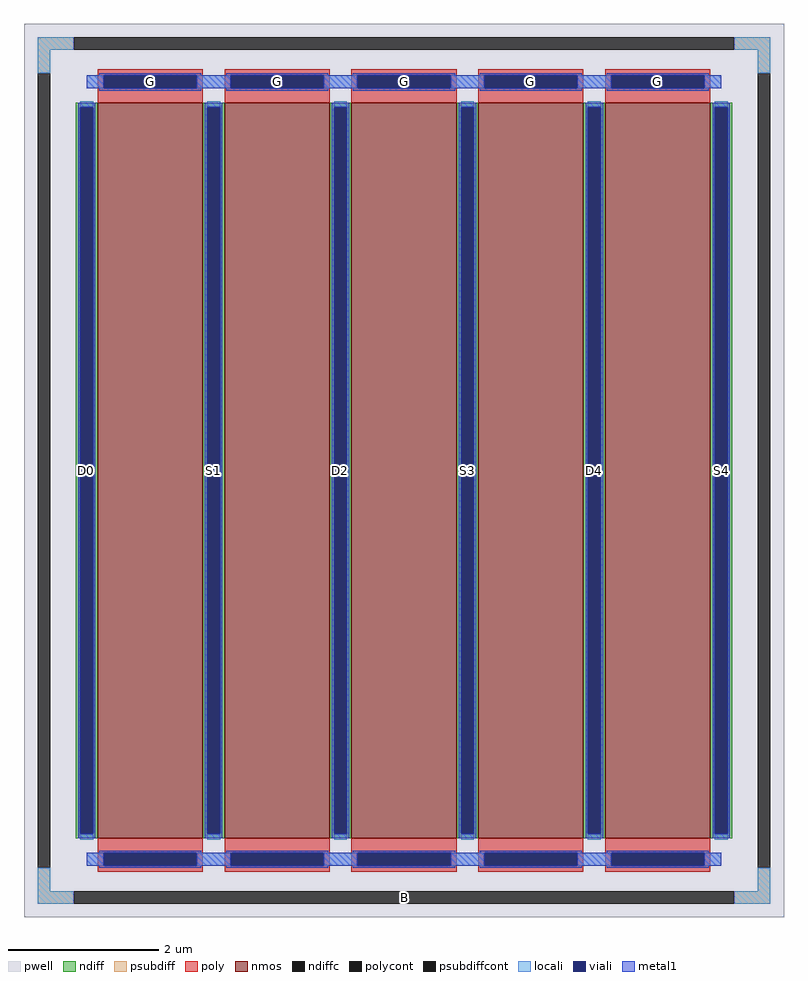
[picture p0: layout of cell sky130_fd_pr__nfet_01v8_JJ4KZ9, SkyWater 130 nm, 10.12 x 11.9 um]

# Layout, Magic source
magic
tech sky130A
magscale 1 2
<< pwell >>
rect -1012 -1190 1012 1190
<< nmos >>
rect -816 -980 -536 980
rect -478 -980 -198 980
rect -140 -980 140 980
rect 198 -980 478 980
rect 536 -980 816 980
<< ndiff >>
rect -874 968 -816 980
rect -874 -968 -862 968
rect -828 -968 -816 968
rect -874 -980 -816 -968
rect -536 968 -478 980
rect -536 -968 -524 968
rect -490 -968 -478 968
rect -536 -980 -478 -968
rect -198 968 -140 980
rect -198 -968 -186 968
rect -152 -968 -140 968
rect -198 -980 -140 -968
rect 140 968 198 980
rect 140 -968 152 968
rect 186 -968 198 968
rect 140 -980 198 -968
rect 478 968 536 980
rect 478 -968 490 968
rect 524 -968 536 968
rect 478 -980 536 -968
rect 816 968 874 980
rect 816 -968 828 968
rect 862 -968 874 968
rect 816 -980 874 -968
<< ndiffc >>
rect -862 -968 -828 968
rect -524 -968 -490 968
rect -186 -968 -152 968
rect 152 -968 186 968
rect 490 -968 524 968
rect 828 -968 862 968
<< psubdiff >>
rect -976 1120 -880 1154
rect 880 1120 976 1154
rect -976 1058 -942 1120
rect 942 1058 976 1120
rect -976 -1120 -942 -1058
rect 942 -1120 976 -1058
rect -976 -1154 -880 -1120
rect 880 -1154 976 -1120
<< psubdiffcont >>
rect -880 1120 880 1154
rect -976 -1058 -942 1058
rect 942 -1058 976 1058
rect -880 -1154 880 -1120
<< poly >>
rect -816 1052 -536 1068
rect -816 1018 -800 1052
rect -552 1018 -536 1052
rect -816 980 -536 1018
rect -478 1052 -198 1068
rect -478 1018 -462 1052
rect -214 1018 -198 1052
rect -478 980 -198 1018
rect -140 1052 140 1068
rect -140 1018 -124 1052
rect 124 1018 140 1052
rect -140 980 140 1018
rect 198 1052 478 1068
rect 198 1018 214 1052
rect 462 1018 478 1052
rect 198 980 478 1018
rect 536 1052 816 1068
rect 536 1018 552 1052
rect 800 1018 816 1052
rect 536 980 816 1018
rect -816 -1018 -536 -980
rect -816 -1052 -800 -1018
rect -552 -1052 -536 -1018
rect -816 -1068 -536 -1052
rect -478 -1018 -198 -980
rect -478 -1052 -462 -1018
rect -214 -1052 -198 -1018
rect -478 -1068 -198 -1052
rect -140 -1018 140 -980
rect -140 -1052 -124 -1018
rect 124 -1052 140 -1018
rect -140 -1068 140 -1052
rect 198 -1018 478 -980
rect 198 -1052 214 -1018
rect 462 -1052 478 -1018
rect 198 -1068 478 -1052
rect 536 -1018 816 -980
rect 536 -1052 552 -1018
rect 800 -1052 816 -1018
rect 536 -1068 816 -1052
<< polycont >>
rect -800 1018 -552 1052
rect -462 1018 -214 1052
rect -124 1018 124 1052
rect 214 1018 462 1052
rect 552 1018 800 1052
rect -800 -1052 -552 -1018
rect -462 -1052 -214 -1018
rect -124 -1052 124 -1018
rect 214 -1052 462 -1018
rect 552 -1052 800 -1018
<< locali >>
rect -976 1120 -880 1154
rect 880 1120 976 1154
rect -976 1058 -942 1120
rect 942 1058 976 1120
rect -845 1018 -800 1052
rect -552 1018 -462 1052
rect -214 1018 -124 1052
rect 124 1018 214 1052
rect 462 1018 552 1052
rect 800 1018 845 1052
rect -862 968 -828 984
rect -862 -984 -828 -968
rect -524 968 -490 984
rect -524 -984 -490 -968
rect -186 968 -152 984
rect -186 -984 -152 -968
rect 152 968 186 984
rect 152 -984 186 -968
rect 490 968 524 984
rect 490 -984 524 -968
rect 828 968 862 984
rect 828 -984 862 -968
rect -845 -1052 -800 -1018
rect -552 -1052 -462 -1018
rect -214 -1052 -124 -1018
rect 124 -1052 214 -1018
rect 462 -1052 552 -1018
rect 800 -1052 845 -1018
rect -976 -1120 -942 -1058
rect 942 -1120 976 -1058
rect -976 -1154 -880 -1120
rect 880 -1154 976 -1120
<< viali >>
rect -800 1018 -552 1052
rect -462 1018 -214 1052
rect -124 1018 124 1052
rect 214 1018 462 1052
rect 552 1018 800 1052
rect -862 -968 -828 968
rect -524 -968 -490 968
rect -186 -968 -152 968
rect 152 -968 186 968
rect 490 -968 524 968
rect 828 -968 862 968
rect -800 -1052 -552 -1018
rect -462 -1052 -214 -1018
rect -124 -1052 124 -1018
rect 214 -1052 462 -1018
rect 552 -1052 800 -1018
<< metal1 >>
rect -812 1052 -540 1058
rect -474 1052 -202 1058
rect -136 1052 136 1058
rect 202 1052 474 1058
rect 540 1052 812 1058
rect -845 1018 -800 1052
rect -552 1018 -462 1052
rect -214 1018 -124 1052
rect 124 1018 214 1052
rect 462 1018 552 1052
rect 800 1018 845 1052
rect -812 1012 -540 1018
rect -474 1012 -202 1018
rect -136 1012 136 1018
rect 202 1012 474 1018
rect 540 1012 812 1018
rect -868 968 -822 980
rect -868 -968 -862 968
rect -828 -968 -822 968
rect -868 -980 -822 -968
rect -530 968 -484 980
rect -530 -968 -524 968
rect -490 -968 -484 968
rect -530 -980 -484 -968
rect -192 968 -146 980
rect -192 -968 -186 968
rect -152 -968 -146 968
rect -192 -980 -146 -968
rect 146 968 192 980
rect 146 -968 152 968
rect 186 -968 192 968
rect 146 -980 192 -968
rect 484 968 530 980
rect 484 -968 490 968
rect 524 -968 530 968
rect 484 -980 530 -968
rect 822 968 868 980
rect 822 -968 828 968
rect 862 -968 868 968
rect 822 -980 868 -968
rect -812 -1018 -540 -1012
rect -474 -1018 -202 -1012
rect -136 -1018 136 -1012
rect 202 -1018 474 -1012
rect 540 -1018 812 -1012
rect -845 -1052 -800 -1018
rect -552 -1052 -462 -1018
rect -214 -1052 -124 -1018
rect 124 -1052 214 -1018
rect 462 -1052 552 -1018
rect 800 -1052 845 -1018
rect -812 -1058 -540 -1052
rect -474 -1058 -202 -1052
rect -136 -1058 136 -1052
rect 202 -1058 474 -1052
rect 540 -1058 812 -1052
<< labels >>
rlabel psubdiffcont 0 -1137 0 -1137 0 B
port 1 nsew
rlabel ndiffc -845 0 -845 0 0 D0
port 2 nsew
rlabel polycont -676 1035 -676 1035 0 G
port 3 nsew
rlabel ndiffc -507 0 -507 0 0 S1
port 4 nsew
rlabel polycont -338 1035 -338 1035 0 G
port 3 nsew
rlabel ndiffc -169 0 -169 0 0 D2
port 5 nsew
rlabel polycont 0 1035 0 1035 0 G
port 3 nsew
rlabel ndiffc 169 0 169 0 0 S3
port 6 nsew
rlabel polycont 338 1035 338 1035 0 G
port 3 nsew
rlabel ndiffc 507 0 507 0 0 D4
port 7 nsew
rlabel ndiffc 845 0 845 0 0 S4
port 8 nsew
rlabel polycont 676 1035 676 1035 0 G
port 3 nsew
<< properties >>
string FIXED_BBOX -959 -1137 959 1137
string gencell sky130_fd_pr__nfet_01v8
string library sky130
string parameters w 9.8 l 1.4 m 1 nf 5 diffcov 100 polycov 100 guard 1 glc 1 grc 1 gtc 1 gbc 1 tbcov 100 rlcov 100 topc 1 botc 1 poverlap 0 doverlap 1 lmin 0.15 wmin 0.42 class mosfet compatible {sky130_fd_pr__nfet_01v8 sky130_fd_pr__nfet_01v8_lvt  sky130_fd_bs_flash__special_sonosfet_star  sky130_fd_pr__nfet_g5v0d10v5 sky130_fd_pr__nfet_05v0_nvt  sky130_fd_pr__nfet_03v3_nvt} full_metal 1 conn_gates 1 viasrc 100 viadrn 100 viagate 100 viagb 0 viagr 0 viagl 0 viagt 0 doports 1
<< end >>
